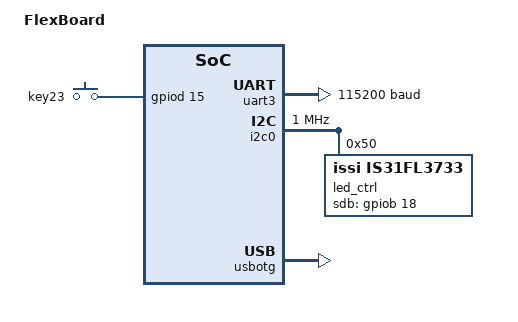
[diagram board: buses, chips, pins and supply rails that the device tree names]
/*
 * Copyright 2023 Daniel DeGrasse
 *
 * SPDX-License-Identifier: Apache-2.0
 */

/dts-v1/;

#include <zephyr/dt-bindings/gpio/gpio.h>
#include <nxp/nxp_k22fxq512.dtsi>

#include "flexboard-pinctrl.dtsi"

/ {
	model = "FlexBoard";
	compatible = "flexboard";

	aliases {
		mcuboot-button0 = &key23;
	};

	chosen {
		zephyr,sram = &sram0;
		zephyr,flash = &flash0;
		zephyr,console = &uart3;
		zephyr,shell-uart = &uart3;
		zephyr,uart-pipe = &uart3;
		zephyr,code-partition = &slot0_partition;
	};

	keys {
		compatible = "gpio-keys";
		key23: key23 {
			gpios = <&gpiod 15 (GPIO_ACTIVE_HIGH | GPIO_PULL_DOWN)>,
				<&gpioe 6 GPIO_ACTIVE_HIGH>;
		};
	};
};

&sim {
	pllfll-select = <KINETIS_SIM_PLLFLLSEL_MCGPLLCLK>;
	er32k-select = <KINETIS_SIM_ER32KSEL_RTC>;
};

&uart3 {
	status = "okay";
	current-speed = <115200>;
	pinctrl-0 = <&uart3_default>;
	pinctrl-names = "default";
};

&i2c0 {
	status = "okay";
	pinctrl-0 = <&i2c0_default>;
	pinctrl-names = "default";
	status = "okay";
	clock-frequency = <I2C_BITRATE_FAST_PLUS>;
	led_ctrl: is31fl3733@50 {
		reg = <0x50>;
		compatible = "issi,is31fl3733";
		sdb-gpios = <&gpiob 18 GPIO_ACTIVE_HIGH>;
	};
};

&gpioa {
	status = "okay";
};

&gpiob {
	status = "okay";
};

&gpiod {
	status = "okay";
};

&gpioe {
	status = "okay";
};

zephyr_udc0: &usbotg {
	compatible = "nxp,kinetis-usbd";
	status = "okay";
	num-bidir-endpoints = <8>;
};

&flash0 {
	partitions {
		compatible = "fixed-partitions";
		#address-cells = <1>;
		#size-cells = <1>;

		boot_partition: partition@0 {
			label = "mcuboot";
			reg = <0x00000000 0x00010000>;
			read-only;
		};
		slot0_partition: partition@10000 {
			label = "image-0";
			reg = <0x00010000 0x00029000>;
		};
		slot1_partition: partition@39000 {
			label = "image-1";
			reg = <0x00039000 0x00028000>;
		};

		/*
		 * The flash starting at 0x00061000 and ending at
		 * 0x0007ffff is reserved for use
		 * by the application.
		 */
		storage_partition: partition@61000 {
			label = "storage";
			reg = <0x00061000 0x0001f000>;
		};

	};
};
